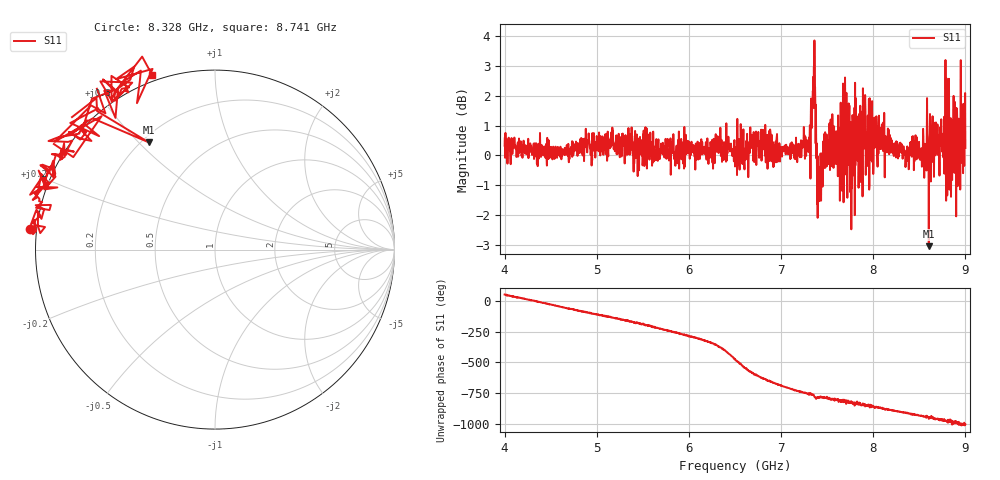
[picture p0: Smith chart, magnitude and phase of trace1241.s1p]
! Created with skrf 1.8.0 (http://scikit-rf.org).
# Hz S RI R 50.0
!freq ReS11 ImS11
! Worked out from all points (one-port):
!   1601 points, 4 GHz to 9 GHz, reference 50 ohm
!   lowest |S11| = -3.1 dB at 8.603 GHz (marker M1), VSWR 5.75, Z = 11.3 + j26.8 ohm
!   |S11| at or under -10 dB: nowhere
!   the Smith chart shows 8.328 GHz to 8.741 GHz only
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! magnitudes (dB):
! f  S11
! 4 GHz  0.3
! 4.625 GHz  0.0
! 5.25 GHz  -0.1
! 5.875 GHz  0.0
! 6.316 GHz  0.3
! 6.5 GHz  -0.4
! 6.806 GHz  0.5
! 7.125 GHz  0.2
! 7.294 GHz  0.1
! 7.347 GHz  2.1
! 7.362 GHz  3.9
! 7.409 GHz  -0.4
! 7.481 GHz  -0.4
! 7.634 GHz  0.9
! 7.688 GHz  2.4
! 7.75 GHz  -1.2
! 7.775 GHz  1.3
! 7.8 GHz  -2.0
! 7.891 GHz  1.2
! 7.981 GHz  -0.2
! 8.097 GHz  0.4
! 8.375 GHz  -0.2
! 8.603 GHz  -3.1
! 8.8 GHz  1.0
! 8.841 GHz  1.2
! 8.919 GHz  -0.3
! 8.972 GHz  0.3
! 9 GHz  0.2
